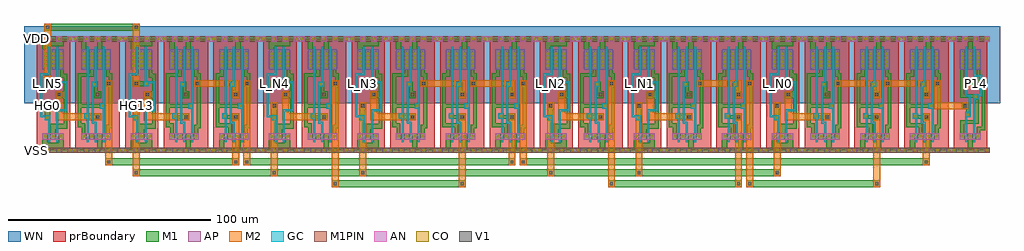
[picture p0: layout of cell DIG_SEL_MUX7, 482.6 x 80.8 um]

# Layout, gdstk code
import gdstk
lib = gdstk.Library(unit=1e-6, precision=1e-07)
def R(c, l, rs):  # rectangles x0, y0, x1, y1
    for r in rs: c.add(gdstk.rectangle(r[:2], r[2:], *l))
def A(c, l, x, y, w, h, nx, ny, dx, dy):  # array of equal rectangles
    R(c, l, [(x+i*dx, y+j*dy, x+i*dx+w, y+j*dy+h) for i in range(nx) for j in range(ny)])
def P(c, l, *ps):  # polygons
    for p in ps: c.add(gdstk.Polygon(p, *l))
AP = (3, 1)
AN = (3, 2)
GC = (8, 1)
CO = (11, 0)
M1 = (13, 0)
V1 = (19, 0)
M2 = (20, 0)
M1PIN = (48, 1)
WN = (140, 0)
prBoundary = (235, 0)

nor2 = lib.new_cell('NOR2')
A(nor2, AP, -1.3, -1.3, 2.6, 2.6, 4, 1, 5.5, 0)
R(nor2, AP, [(2.8,39.7,13.4,49.9), (2.8,39.7,13.4,49.9)])
A(nor2, AN, -1.3, 53.7, 2.6, 2.6, 4, 1, 5.5, 0)
R(nor2, AN, [(2.8,5.1,13.4,8.5)])
P(nor2, GC, [(5.6,3.9),(5.6,14.7),(4,14.7),(4,16.3),(1.8,16.3),(1.8,38),(5.6,38),(5.6,51.1),(6.6,51.1),(6.6,37),(2.8,37),(2.8,17.3),(6.6,17.3),(6.6,3.9)],
  [(9.6,3.9),(9.6,20.2),(14,20.2),(14,33.2),(11.8,33.2),(11.8,31.6),(9.2,31.6),(9.2,34.2),(9.6,34.2),(9.6,51.1),(10.6,51.1),(10.6,34.2),(15,34.2),(15,19.2),(10.6,19.2),(10.6,3.9)])
A(nor2, CO, -0.5, -0.5, 1, 1, 4, 2, 5.5, 55)
A(nor2, CO, 11.6, 41.3, 1, 1, 1, 4, 0, 2)
R(nor2, CO, [(3.6,6.3,4.6,7.3), (7.6,6.3,8.6,7.3), (7.6,6.3,8.6,7.3), (11.6,6.3,12.6,7.3), (4.8,15.5,5.8,16.5), (10,32.4,11,33.4), (3.6,41.3,4.6,42.3), (3.6,41.3,4.6,42.3), (3.6,41.3,4.6,42.3), (7.6,41.3,8.6,42.3), (7.6,41.3,8.6,42.3), (7.6,41.3,8.6,42.3), (7.6,41.3,8.6,42.3), (3.6,43.3,4.6,44.3), (3.6,43.3,4.6,44.3), (3.6,43.3,4.6,44.3), (7.6,43.3,8.6,44.3), (7.6,43.3,8.6,44.3), (7.6,43.3,8.6,44.3), (7.6,43.3,8.6,44.3), (3.6,45.3,4.6,46.3), (3.6,45.3,4.6,46.3), (3.6,45.3,4.6,46.3), (7.6,45.3,8.6,46.3), (7.6,45.3,8.6,46.3), (7.6,45.3,8.6,46.3), (7.6,45.3,8.6,46.3), (3.6,47.3,4.6,48.3), (3.6,47.3,4.6,48.3), (3.6,47.3,4.6,48.3), (7.6,47.3,8.6,48.3), (7.6,47.3,8.6,48.3), (7.6,47.3,8.6,48.3), (7.6,47.3,8.6,48.3)])
R(nor2, M1, [(6.8,39.7,9.4,49.9)])
P(nor2, M1, [(-1.3,-1.3),(-1.3,1.3),(2.8,1.3),(2.8,8.5),(5.4,8.5),(5.4,3.7),(10.8,3.7),(10.8,8.5),(13.4,8.5),(13.4,1.3),(17.8,1.3),(17.8,-1.3)],
  [(4,14.7),(4,20.3),(3.8,20.3),(3.8,23.7),(7.2,23.7),(7.2,20.3),(6.6,20.3),(6.6,14.7)],
  [(3.8,31.3),(3.8,34.7),(7.2,34.7),(7.2,34.2),(11.8,34.2),(11.8,31.6),(7.2,31.6),(7.2,31.3)],
  [(6.8,5.1),(6.8,13.1),(13.4,13.1),(13.4,25.8),(9.3,25.8),(9.3,29.2),(13.4,29.2),(13.4,35.9),(11.6,35.9),(11.6,39.7),(10.8,39.7),(10.8,49.9),(13.4,49.9),(13.4,37.7),(15.2,37.7),(15.2,10.5),(9.4,10.5),(9.4,5.1)],
  [(2.8,39.7),(2.8,53.7),(-1.3,53.7),(-1.3,56.3),(17.8,56.3),(17.8,53.7),(13.4,53.7),(13.4,51.3),(5.4,51.3),(5.4,39.7)])
R(nor2, M1PIN, [(-1.3,-1.3,17.8,1.3), (4.6,21.1,6.4,22.9), (10.1,26.6,11.9,28.4), (4.6,32.1,6.4,33.9), (-1.3,53.7,17.8,56.3)])
R(nor2, WN, [(-6.3,23.2,22.8,61.3)])
R(nor2, prBoundary, [(0,0,16.5,55)])
nor2.add(gdstk.Label('A', (5.5,22), layer=48, texttype=0))
nor2.add(gdstk.Label('B', (5.5,33), layer=48, texttype=0))
nor2.add(gdstk.Label('Y', (11,27.5), layer=48, texttype=0))
nor2.add(gdstk.Label('vdd', (0,55), layer=48, texttype=0))

and2_x1 = lib.new_cell('AND2_X1')
A(and2_x1, AP, -1.3, -1.3, 2.6, 2.6, 5, 1, 5.5, 0)
R(and2_x1, AP, [(2.8,39.7,17.4,49.9), (2.8,39.7,17.4,49.9)])
A(and2_x1, AN, -1.3, 53.7, 2.6, 2.6, 5, 1, 5.5, 0)
R(and2_x1, AN, [(2.8,5.1,17.4,8.5)])
P(and2_x1, GC, [(5.6,3.9),(5.6,15.6),(4.3,15.6),(4.3,18.2),(5.6,18.2),(5.6,51.1),(6.6,51.1),(6.6,18.2),(6.9,18.2),(6.9,15.6),(6.6,15.6),(6.6,3.9)],
  [(9.6,3.9),(9.6,13),(8.1,13),(8.1,33.9),(9.6,33.9),(9.6,51.1),(10.6,51.1),(10.6,33.9),(10.7,33.9),(10.7,31.3),(9.1,31.3),(9.1,14),(10.6,14),(10.6,3.9)],
  [(13.6,3.9),(13.6,20.6),(12,20.6),(12,23.2),(13.6,23.2),(13.6,51.1),(14.6,51.1),(14.6,3.9)])
A(and2_x1, CO, -0.5, -0.5, 1, 1, 5, 2, 5.5, 55)
A(and2_x1, CO, 3.6, 41.3, 1, 1, 1, 4, 0, 2)
A(and2_x1, CO, 15.6, 41.3, 1, 1, 1, 4, 0, 2)
R(and2_x1, CO, [(3.6,6.3,4.6,7.3), (7.6,6.3,8.6,7.3), (7.6,6.3,8.6,7.3), (11.6,6.3,12.6,7.3), (11.6,6.3,12.6,7.3), (15.6,6.3,16.6,7.3), (5.1,16.4,6.1,17.4), (12.8,21.4,13.8,22.4), (8.9,32.1,9.9,33.1), (7.6,41.3,8.6,42.3), (7.6,41.3,8.6,42.3), (11.6,41.3,12.6,42.3), (11.6,41.3,12.6,42.3), (7.6,43.3,8.6,44.3), (7.6,43.3,8.6,44.3), (11.6,43.3,12.6,44.3), (11.6,43.3,12.6,44.3), (7.6,45.3,8.6,46.3), (7.6,45.3,8.6,46.3), (11.6,45.3,12.6,46.3), (11.6,45.3,12.6,46.3), (7.6,47.3,8.6,48.3), (7.6,47.3,8.6,48.3), (11.6,47.3,12.6,48.3), (11.6,47.3,12.6,48.3)])
R(and2_x1, M1, [(6.8,5.1,9.4,8.5)])
P(and2_x1, M1, [(-1.3,-1.3),(-1.3,1.3),(10.8,1.3),(10.8,8.5),(13.4,8.5),(13.4,1.3),(23.3,1.3),(23.3,-1.3)],
  [(9.3,14.8),(9.3,15.6),(4.3,15.6),(4.3,18.2),(6.9,18.2),(6.9,17.4),(9.3,17.4),(9.3,18.2),(12.7,18.2),(12.7,14.8)],
  [(9.3,25.8),(9.3,31.3),(8.1,31.3),(8.1,33.9),(11.1,33.9),(11.1,29.2),(12.7,29.2),(12.7,25.8)],
  [(2.8,5.1),(2.8,8.5),(3.2,8.5),(3.2,11.4),(1.1,11.4),(1.1,38),(7.2,38),(7.2,39.7),(6.8,39.7),(6.8,49.9),(9.4,49.9),(9.4,39.7),(9,39.7),(9,36.2),(2.9,36.2),(2.9,22.8),(12,22.8),(12,23.2),(14.6,23.2),(14.6,20.6),(12,20.6),(12,21),(2.9,21),(2.9,13.2),(5,13.2),(5,8.5),(5.4,8.5),(5.4,5.1)],
  [(14.8,5.1),(14.8,8.5),(15.2,8.5),(15.2,12.6),(16.4,12.6),(16.4,31.3),(14.8,31.3),(14.8,34.7),(16.4,34.7),(16.4,36.2),(15.2,36.2),(15.2,39.7),(14.8,39.7),(14.8,49.9),(17.4,49.9),(17.4,39.7),(17,39.7),(17,38),(18.2,38),(18.2,10.8),(17,10.8),(17,8.5),(17.4,8.5),(17.4,5.1)],
  [(2.8,39.7),(2.8,53.7),(-1.3,53.7),(-1.3,56.3),(23.3,56.3),(23.3,53.7),(13.4,53.7),(13.4,39.7),(10.8,39.7),(10.8,53.7),(5.4,53.7),(5.4,39.7)])
R(and2_x1, M1PIN, [(-1.3,-1.3,23.3,1.3), (10.1,15.6,11.9,17.4), (10.1,26.6,11.9,28.4), (15.6,32.1,17.4,33.9), (-1.3,53.7,23.3,56.3)])
R(and2_x1, WN, [(-6.3,23.2,28.3,61.3)])
R(and2_x1, prBoundary, [(0,0,22,55)])
and2_x1.add(gdstk.Label('vdd', (0,55), layer=48, texttype=0))
and2_x1.add(gdstk.Label('gnd', (0,0), layer=48, texttype=0))
and2_x1.add(gdstk.Label('Y', (16.5,33), layer=48, texttype=0))
and2_x1.add(gdstk.Label('A', (11,16.5), layer=48, texttype=0))
and2_x1.add(gdstk.Label('B', (11,27.5), layer=48, texttype=0))

or2 = lib.new_cell('OR2')
A(or2, AP, -1.3, -1.3, 2.6, 2.6, 5, 1, 5.5, 0)
R(or2, AP, [(2.8,39.7,17.4,49.9), (2.8,39.7,17.4,49.9)])
A(or2, AN, -1.3, 53.7, 2.6, 2.6, 5, 1, 5.5, 0)
R(or2, AN, [(2.8,5.1,17.4,8.5)])
P(or2, GC, [(5.6,3.9),(5.6,15.6),(4.3,15.6),(4.3,18.2),(5.6,18.2),(5.6,51.1),(6.6,51.1),(6.6,18.2),(6.9,18.2),(6.9,15.6),(6.6,15.6),(6.6,3.9)],
  [(9.6,3.9),(9.6,13),(8.1,13),(8.1,33.9),(9.6,33.9),(9.6,51.1),(10.6,51.1),(10.6,33.9),(10.7,33.9),(10.7,31.3),(9.1,31.3),(9.1,14),(10.6,14),(10.6,3.9)],
  [(13.6,3.9),(13.6,20.6),(12,20.6),(12,23.2),(13.6,23.2),(13.6,51.1),(14.6,51.1),(14.6,3.9)])
A(or2, CO, -0.5, -0.5, 1, 1, 5, 2, 5.5, 55)
A(or2, CO, 3.6, 41.3, 1, 1, 1, 4, 0, 2)
A(or2, CO, 15.6, 41.3, 1, 1, 1, 4, 0, 2)
R(or2, CO, [(3.6,6.3,4.6,7.3), (7.6,6.3,8.6,7.3), (7.6,6.3,8.6,7.3), (11.6,6.3,12.6,7.3), (11.6,6.3,12.6,7.3), (15.6,6.3,16.6,7.3), (5.1,16.4,6.1,17.4), (12.8,21.4,13.8,22.4), (8.9,32.1,9.9,33.1), (7.6,41.3,8.6,42.3), (7.6,41.3,8.6,42.3), (11.6,41.3,12.6,42.3), (11.6,41.3,12.6,42.3), (7.6,43.3,8.6,44.3), (7.6,43.3,8.6,44.3), (11.6,43.3,12.6,44.3), (11.6,43.3,12.6,44.3), (7.6,45.3,8.6,46.3), (7.6,45.3,8.6,46.3), (11.6,45.3,12.6,46.3), (11.6,45.3,12.6,46.3), (7.6,47.3,8.6,48.3), (7.6,47.3,8.6,48.3), (11.6,47.3,12.6,48.3), (11.6,47.3,12.6,48.3)])
R(or2, M1, [(6.8,39.7,9.4,49.9)])
P(or2, M1, [(-1.3,-1.3),(-1.3,1.3),(2.8,1.3),(2.8,8.5),(5.4,8.5),(5.4,1.3),(10.8,1.3),(10.8,8.5),(13.4,8.5),(13.4,1.3),(23.3,1.3),(23.3,-1.3)],
  [(9.3,14.8),(9.3,15.6),(4.3,15.6),(4.3,18.2),(6.9,18.2),(6.9,17.4),(9.3,17.4),(9.3,18.2),(12.7,18.2),(12.7,14.8)],
  [(9.3,25.8),(9.3,31.3),(8.1,31.3),(8.1,33.9),(11.1,33.9),(11.1,29.2),(12.7,29.2),(12.7,25.8)],
  [(6.8,5.1),(6.8,8.5),(7.2,8.5),(7.2,11.4),(1.1,11.4),(1.1,38),(3.2,38),(3.2,39.7),(2.8,39.7),(2.8,49.9),(5.4,49.9),(5.4,39.7),(5,39.7),(5,36.2),(2.9,36.2),(2.9,22.8),(12,22.8),(12,23.2),(14.6,23.2),(14.6,20.6),(12,20.6),(12,21),(2.9,21),(2.9,13.2),(9,13.2),(9,8.5),(9.4,8.5),(9.4,5.1)],
  [(14.8,5.1),(14.8,8.5),(15.2,8.5),(15.2,12.6),(16.4,12.6),(16.4,31.3),(14.8,31.3),(14.8,34.7),(16.4,34.7),(16.4,36.2),(15.2,36.2),(15.2,39.7),(14.8,39.7),(14.8,49.9),(17.4,49.9),(17.4,39.7),(17,39.7),(17,38),(18.2,38),(18.2,10.8),(17,10.8),(17,8.5),(17.4,8.5),(17.4,5.1)],
  [(10.8,39.7),(10.8,53.7),(-1.3,53.7),(-1.3,56.3),(23.3,56.3),(23.3,53.7),(13.4,53.7),(13.4,39.7)])
R(or2, M1PIN, [(-1.3,-1.3,23.3,1.3), (10.1,15.6,11.9,17.4), (10.1,26.6,11.9,28.4), (15.6,32.1,17.4,33.9), (-1.3,53.7,23.3,56.3)])
R(or2, WN, [(-6.3,23.2,28.3,61.3)])
R(or2, prBoundary, [(0,0,22,55)])
or2.add(gdstk.Label('Y', (16.5,33), layer=48, texttype=0))
or2.add(gdstk.Label('A', (11,16.5), layer=48, texttype=0))
or2.add(gdstk.Label('B', (11,27.5), layer=48, texttype=0))
or2.add(gdstk.Label('vdd', (0,55), layer=48, texttype=0))
or2.add(gdstk.Label('gnd', (0,0), layer=48, texttype=0))

buf_x1 = lib.new_cell('BUF_X1')
A(buf_x1, AP, -1.3, -1.3, 2.6, 2.6, 4, 1, 5.5, 0)
R(buf_x1, AP, [(2.8,39.7,13.4,49.9), (2.8,39.7,13.4,49.9)])
A(buf_x1, AN, -1.3, 53.7, 2.6, 2.6, 4, 1, 5.5, 0)
R(buf_x1, AN, [(2.8,5.1,13.4,8.5)])
P(buf_x1, GC, [(5.6,3.9),(5.6,18.9),(7.4,18.9),(7.4,26.4),(5.6,26.4),(5.6,51.1),(6.6,51.1),(6.6,27.4),(8.4,27.4),(8.4,16.3),(6.6,16.3),(6.6,3.9)],
  [(9.6,3.9),(9.6,27.7),(12.9,27.7),(12.9,36.4),(9.6,36.4),(9.6,51.1),(10.6,51.1),(10.6,37.4),(13.9,37.4),(13.9,26.7),(12.2,26.7),(12.2,25.1),(10.6,25.1),(10.6,3.9)])
A(buf_x1, CO, -0.5, -0.5, 1, 1, 4, 2, 5.5, 55)
A(buf_x1, CO, 3.6, 41.3, 1, 1, 1, 4, 0, 2)
A(buf_x1, CO, 11.6, 41.3, 1, 1, 1, 4, 0, 2)
R(buf_x1, CO, [(3.6,6.3,4.6,7.3), (7.6,6.3,8.6,7.3), (7.6,6.3,8.6,7.3), (11.6,6.3,12.6,7.3), (6.4,17.1,7.4,18.1), (10.4,25.9,11.4,26.9), (7.6,41.3,8.6,42.3), (7.6,41.3,8.6,42.3), (7.6,43.3,8.6,44.3), (7.6,43.3,8.6,44.3), (7.6,45.3,8.6,46.3), (7.6,45.3,8.6,46.3), (7.6,47.3,8.6,48.3), (7.6,47.3,8.6,48.3)])
P(buf_x1, M1, [(-1.3,-1.3),(-1.3,1.3),(6.8,1.3),(6.8,8.5),(9.4,8.5),(9.4,1.3),(17.8,1.3),(17.8,-1.3)],
  [(5.6,16.3),(5.6,18.9),(6,18.9),(6,20.3),(3.8,20.3),(3.8,23.7),(7.8,23.7),(7.8,18.9),(8.2,18.9),(8.2,16.3)],
  [(2.8,5.1),(2.8,8.5),(3.2,8.5),(3.2,14.9),(10.4,14.9),(10.4,25.1),(9.6,25.1),(9.6,25.9),(3.2,25.9),(3.2,39.7),(2.8,39.7),(2.8,49.9),(5.4,49.9),(5.4,39.7),(5,39.7),(5,27.7),(12.2,27.7),(12.2,13.1),(5,13.1),(5,8.5),(5.4,8.5),(5.4,5.1)],
  [(10.8,5.1),(10.8,8.5),(11.2,8.5),(11.2,11.7),(13.8,11.7),(13.8,31.3),(9.3,31.3),(9.3,34.7),(11.2,34.7),(11.2,39.7),(10.8,39.7),(10.8,49.9),(13.4,49.9),(13.4,39.7),(13,39.7),(13,33.1),(15.6,33.1),(15.6,9.9),(13,9.9),(13,8.5),(13.4,8.5),(13.4,5.1)],
  [(6.8,39.7),(6.8,53.7),(-1.3,53.7),(-1.3,56.3),(17.8,56.3),(17.8,53.7),(9.4,53.7),(9.4,39.7)])
R(buf_x1, M1PIN, [(-1.3,-1.3,17.8,1.3), (4.6,21.1,6.4,22.9), (10.1,32.1,11.9,33.9), (-1.3,53.7,17.8,56.3)])
R(buf_x1, WN, [(-6.3,23.2,22.8,61.3)])
R(buf_x1, prBoundary, [(0,0,16.5,55)])
buf_x1.add(gdstk.Label('vdd', (0,55), layer=48, texttype=0))
buf_x1.add(gdstk.Label('gnd', (0,0), layer=48, texttype=0))
buf_x1.add(gdstk.Label('Y', (11,33), layer=48, texttype=0))
buf_x1.add(gdstk.Label('A', (5.5,22), layer=48, texttype=0))

dig_sel_mux7 = lib.new_cell('DIG_SEL_MUX7')
R(dig_sel_mux7, M1, [(147.2,-21,150.6,-17.6), (150.6,-21,210,-17.6), (210,-21,213.4,-17.6), (283.8,-21,287.2,-17.6), (287.2,-21,346.6,-17.6), (346.6,-21,350,-17.6), (352.1,-21,355.5,-17.6), (355.5,-21,414.9,-17.6), (414.9,-21,418.3,-17.6), (48.8,-15.6,52.2,-12.2), (52.2,-15.6,365.7,-12.2), (117.1,-15.6,120.5,-12.2), (160.8,-15.6,164.2,-12.2), (253.7,-15.6,257.1,-12.2), (297.4,-15.6,300.8,-12.2), (365.7,-15.6,369.1,-12.2), (35.2,-10.2,38.6,-6.8), (38.6,-10.2,98,-6.8), (98,-10.2,101.4,-6.8), (103.5,-10.2,106.9,-6.8), (106.9,-10.2,234.6,-6.8), (234.6,-10.2,238,-6.8), (240.1,-10.2,243.5,-6.8), (243.5,-10.2,439.5,-6.8), (439.5,-10.2,442.9,-6.8), (5.1,56.4,8.5,59.8), (8.5,56.4,48.8,59.8), (48.8,56.4,52.2,59.8)])
A(dig_sel_mux7, V1, 99, 13.1, 1.4, 1.4, 3, 1, 43.7, 0)
A(dig_sel_mux7, V1, 235.6, 13.1, 1.4, 1.4, 3, 1, 43.7, 0)
A(dig_sel_mux7, V1, 391.3, 13.1, 1.4, 1.4, 3, 1, 24.6, 0)
A(dig_sel_mux7, V1, 11.6, 24.1, 1.4, 1.4, 3, 1, 43.7, 0)
A(dig_sel_mux7, V1, 123.6, 24.1, 1.4, 1.4, 3, 1, 43.7, 0)
A(dig_sel_mux7, V1, 260.2, 24.1, 1.4, 1.4, 3, 1, 43.7, 0)
A(dig_sel_mux7, V1, 104.5, 29.6, 1.4, 1.4, 3, 1, 43.7, 0)
A(dig_sel_mux7, V1, 241.1, 29.6, 1.4, 1.4, 3, 1, 43.7, 0)
A(dig_sel_mux7, V1, 396.8, 29.6, 1.4, 1.4, 3, 1, 24.6, 0)
R(dig_sel_mux7, V1, [(148.2,-20,149.6,-18.6), (211,-20,212.4,-18.6), (284.8,-20,286.2,-18.6), (347.6,-20,349,-18.6), (353.1,-20,354.5,-18.6), (415.9,-20,417.3,-18.6), (49.8,-14.6,51.2,-13.2), (118.1,-14.6,119.5,-13.2), (161.8,-14.6,163.2,-13.2), (254.7,-14.6,256.1,-13.2), (298.4,-14.6,299.8,-13.2), (366.7,-14.6,368.1,-13.2), (36.2,-9.2,37.6,-7.8), (99,-9.2,100.4,-7.8), (104.5,-9.2,105.9,-7.8), (235.6,-9.2,237,-7.8), (241.1,-9.2,242.5,-7.8), (440.5,-9.2,441.9,-7.8), (30.7,13.1,32.1,14.5), (74.4,13.1,75.8,14.5), (211,13.1,212.4,14.5), (347.6,13.1,349,14.5), (49.8,18.6,51.2,20), (118.1,18.6,119.5,20), (161.8,18.6,163.2,20), (254.7,18.6,256.1,20), (298.4,18.6,299.8,20), (366.7,18.6,368.1,20), (459.6,18.6,461,20), (235.6,24.1,237,25.5), (372.2,24.1,373.6,25.5), (415.9,24.1,417.3,25.5), (440.5,24.1,441.9,25.5), (6.1,29.6,7.5,31), (36.2,29.6,37.6,31), (49.8,29.6,51.2,31), (79.9,29.6,81.3,31), (216.5,29.6,217.9,31), (353.1,29.6,354.5,31), (6.1,57.4,7.5,58.8), (49.8,57.4,51.2,58.8)])
R(dig_sel_mux7, M2, [(147.2,-21,150.6,-17.6), (210,-21,213.4,-17.6), (283.8,-21,287.2,-17.6), (346.6,-21,350,-17.6), (352.1,-21,355.5,-17.6), (414.9,-21,418.3,-17.6), (147.2,-17.6,150.6,32), (210,-17.6,213.4,15.5), (283.8,-17.6,287.2,32), (346.6,-17.6,350,15.5), (352.1,-17.6,355.5,32), (414.9,-17.6,418.3,15.5), (48.8,-15.6,52.2,-12.2), (117.1,-15.6,120.5,-12.2), (160.8,-15.6,164.2,-12.2), (253.7,-15.6,257.1,-12.2), (297.4,-15.6,300.8,-12.2), (365.7,-15.6,369.1,-12.2), (48.8,-12.2,52.2,21), (117.1,-12.2,120.5,21), (160.8,-12.2,164.2,21), (253.7,-12.2,257.1,21), (297.4,-12.2,300.8,21), (365.7,-12.2,369.1,21), (35.2,-10.2,38.6,-6.8), (98,-10.2,101.4,-6.8), (103.5,-10.2,106.9,-6.8), (234.6,-10.2,238,-6.8), (240.1,-10.2,243.5,-6.8), (439.5,-10.2,442.9,-6.8), (35.2,-6.8,38.6,32), (98,-6.8,101.4,15.5), (103.5,-6.8,106.9,32), (234.6,-6.8,238,15.5), (240.1,-6.8,243.5,32), (439.5,-6.8,442.9,15.5), (10.6,12.1,14,26.5), (14,12.1,33.1,15.5), (54.3,12.1,57.7,26.5), (57.7,12.1,76.8,15.5), (122.6,12.1,126,26.5), (126,12.1,145.1,15.5), (166.3,12.1,169.7,26.5), (169.7,12.1,188.8,15.5), (259.2,12.1,262.6,26.5), (262.6,12.1,281.7,15.5), (302.9,12.1,306.3,26.5), (306.3,12.1,325.4,15.5), (371.2,12.1,374.6,26.5), (374.6,12.1,393.7,15.5), (445,17.6,448.4,32), (448.4,17.6,462,21), (98,23.1,101.4,32), (210,23.1,213.4,32), (234.6,23.1,238,32), (346.6,23.1,350,32), (414.9,23.1,418.3,32), (439.5,23.1,442.9,32), (5.1,28.6,8.5,56.4), (48.8,28.6,52.2,56.4), (78.9,28.6,98,32), (190.9,28.6,210,32), (215.5,28.6,234.6,32), (327.5,28.6,346.6,32), (395.8,28.6,414.9,32), (420.4,28.6,439.5,32), (5.1,56.4,8.5,59.8), (48.8,56.4,52.2,59.8)])
dig_sel_mux7.add(gdstk.Reference(nor2, (1.3,-2.7)))
dig_sel_mux7.add(gdstk.Reference(and2_x1, (20.4,-2.7)))
dig_sel_mux7.add(gdstk.Reference(nor2, (45,-2.7)))
dig_sel_mux7.add(gdstk.Reference(and2_x1, (64.1,-2.7)))
dig_sel_mux7.add(gdstk.Reference(or2, (88.7,-2.7)))
dig_sel_mux7.add(gdstk.Reference(nor2, (113.3,-2.7)))
dig_sel_mux7.add(gdstk.Reference(and2_x1, (132.4,-2.7)))
dig_sel_mux7.add(gdstk.Reference(nor2, (157,-2.7)))
dig_sel_mux7.add(gdstk.Reference(or2, (200.7,-2.7)))
dig_sel_mux7.add(gdstk.Reference(and2_x1, (176.1,-2.7)))
dig_sel_mux7.add(gdstk.Reference(or2, (225.3,-2.7)))
dig_sel_mux7.add(gdstk.Reference(nor2, (249.9,-2.7)))
dig_sel_mux7.add(gdstk.Reference(and2_x1, (269,-2.7)))
dig_sel_mux7.add(gdstk.Reference(nor2, (293.6,-2.7)))
dig_sel_mux7.add(gdstk.Reference(or2, (337.3,-2.7)))
dig_sel_mux7.add(gdstk.Reference(nor2, (361.9,-2.7)))
dig_sel_mux7.add(gdstk.Reference(and2_x1, (381,-2.7)))
dig_sel_mux7.add(gdstk.Reference(or2, (405.6,-2.7)))
dig_sel_mux7.add(gdstk.Reference(or2, (430.2,-2.7)))
dig_sel_mux7.add(gdstk.Reference(buf_x1, (454.8,-2.7)))
dig_sel_mux7.add(gdstk.Reference(and2_x1, (312.7,-2.7)))
dig_sel_mux7.add(gdstk.Label('VDD', (1.3,52.3), layer=48, texttype=0))
dig_sel_mux7.add(gdstk.Label('VSS', (1.3,-2.7), layer=48, texttype=0))
dig_sel_mux7.add(gdstk.Label('HG0', (6.8,19.4), layer=48, texttype=0))
dig_sel_mux7.add(gdstk.Label('L_N5', (6.8,30.3), layer=48, texttype=0))
dig_sel_mux7.add(gdstk.Label('DOUT_0X05', (31.4,24.8), layer=48, texttype=0))
dig_sel_mux7.add(gdstk.Label('HG13', (50.5,19.3), layer=48, texttype=0))
dig_sel_mux7.add(gdstk.Label('DOUT_0XD5', (75.1,24.8), layer=48, texttype=0))
dig_sel_mux7.add(gdstk.Label('L_N4', (118.8,30.3), layer=48, texttype=0))
dig_sel_mux7.add(gdstk.Label('DOUT_0XD4', (143.4,24.8), layer=48, texttype=0))
dig_sel_mux7.add(gdstk.Label('L_N3', (162.5,30.3), layer=48, texttype=0))
dig_sel_mux7.add(gdstk.Label('DOUT_0XD3', (187.1,24.8), layer=48, texttype=0))
dig_sel_mux7.add(gdstk.Label('L_N2', (255.4,30.3), layer=48, texttype=0))
dig_sel_mux7.add(gdstk.Label('L_N1', (299.1,30.3), layer=48, texttype=0))
dig_sel_mux7.add(gdstk.Label('DOUT_0XD2', (280,24.8), layer=48, texttype=0))
dig_sel_mux7.add(gdstk.Label('DOUT_0XD1', (323.7,24.8), layer=48, texttype=0))
dig_sel_mux7.add(gdstk.Label('L_N0', (367.4,30.3), layer=48, texttype=0))
dig_sel_mux7.add(gdstk.Label('DOUT_0XD0', (392,24.8), layer=48, texttype=0))
dig_sel_mux7.add(gdstk.Label('P14', (465.8,30.3), layer=48, texttype=0))

lib.write_gds('DIG_SEL_MUX7.gds')
